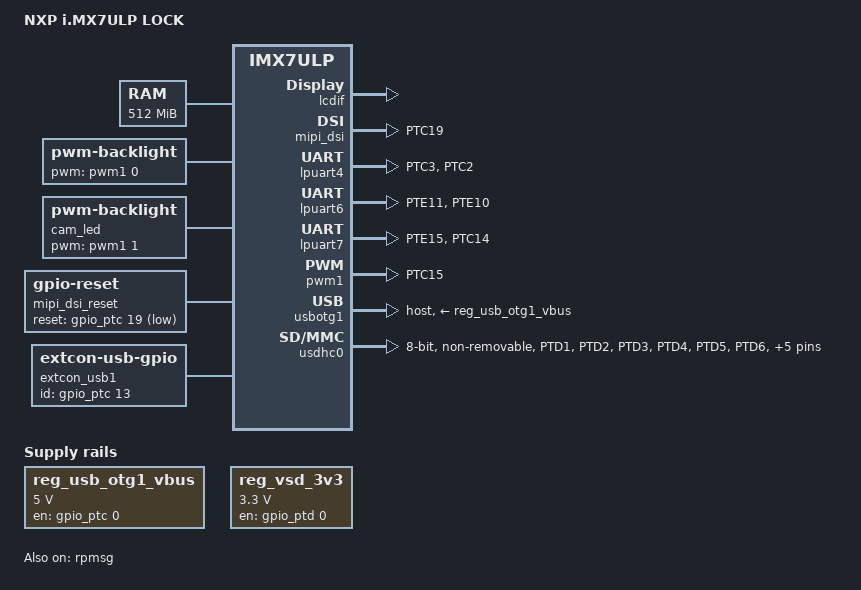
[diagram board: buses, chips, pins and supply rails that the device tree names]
/*
 * Copyright 2016 Freescale Semiconductor, Inc.
 * Copyright 2017 NXP.
 *
 * This program is free software; you can redistribute it and/or modify
 * it under the terms of the GNU General Public License version 2 as
 * published by the Free Software Foundation.
 */

/dts-v1/;

#include "imx7ulp.dtsi"
#include <dt-bindings/input/input.h>

/ {
	model = "NXP i.MX7ULP LOCK";
	compatible = "fsl,imx7ulp-lock", "fsl,imx7ulp", "Generic DT based system";


	chosen {
		stdout-path = &lpuart4;
	};

	memory {
		device_type = "memory";
		reg = <0x60000000 0x20000000>;
	};

	backlight {
		compatible = "pwm-backlight";
		pwms = <&pwm1 0 5000000>;
		brightness-levels = <0 20 25 30 35 40 100>;
		default-brightness-level = <6>;
		status = "okay";
	};

	cam_led {
		compatible = "pwm-backlight";
		pwms = <&pwm1 1 1000000>;
		brightness-levels = <0 10 30 50 70 99>;
		default-brightness-level = <0>;
		status = "okay";
	};

	mipi_dsi_reset: mipi-dsi-reset {
		compatible = "gpio-reset";
		reset-gpios = <&gpio_ptc 19 GPIO_ACTIVE_LOW>;
		reset-delay-us = <1000>;
		#reset-cells = <0>;
		status = "ok";
	};

	regulators {
		compatible = "simple-bus";
		#address-cells = <1>;
		#size-cells = <0>;

		reg_usb_otg1_vbus: regulator@0 {
			compatible = "regulator-fixed";
			reg = <0>;
			pinctrl-names = "default", "sleep";
			pinctrl-0 = <&pinctrl_usb_otg1>;
			pinctrl-1 = <&pinctrl_usb_otg1>;
			regulator-name = "usb_otg1_vbus";
			regulator-min-microvolt = <5000000>;
			regulator-max-microvolt = <5000000>;
			gpio = <&gpio_ptc 0 GPIO_ACTIVE_HIGH>;
			enable-active-high;
		};

		reg_vsd_3v3: regulator@1 {
			compatible = "regulator-fixed";
			reg = <1>;
			regulator-name = "VSD_3V3";
			regulator-min-microvolt = <3300000>;
			regulator-max-microvolt = <3300000>;
			gpio = <&gpio_ptd 0 GPIO_ACTIVE_HIGH>;
			enable-active-high;
		};

	};

	extcon_usb1: extcon_usb1 {
		compatible = "linux,extcon-usb-gpio";
		id-gpio = <&gpio_ptc 13 GPIO_ACTIVE_HIGH>;
		pinctrl-names = "default", "sleep";
		pinctrl-0 = <&pinctrl_extcon_usb1>;
		pinctrl-1 = <&pinctrl_extcon_usb1>;
	};

	pf1550-rpmsg {
		compatible = "fsl,pf1550-rpmsg";
		sw1_reg: SW1 {
				regulator-name = "SW1";
				regulator-min-microvolt = <600000>;
				regulator-max-microvolt = <1387500>;
				regulator-boot-on;
				regulator-always-on;
		};

		sw2_reg: SW2 {
				regulator-name = "SW2";
				regulator-min-microvolt = <600000>;
				regulator-max-microvolt = <1387500>;
				regulator-boot-on;
				regulator-always-on;
		};

		sw3_reg: SW3 {
				regulator-name = "SW3";
				regulator-min-microvolt = <1800000>;
				regulator-max-microvolt = <3300000>;
				regulator-boot-on;
				regulator-always-on;
		};

		vref_reg: VREFDDR {
				regulator-name = "VREFDDR";
				regulator-min-microvolt = <1200000>;
				regulator-max-microvolt = <1200000>;
				regulator-boot-on;
				regulator-always-on;
		};

		vldo1_reg: LDO1 {
				regulator-name = "LDO1";
				regulator-min-microvolt = <750000>;
				regulator-max-microvolt = <3300000>;
				regulator-always-on;
		};

		vldo2_reg: LDO2 {
				regulator-name = "LDO2";
				regulator-min-microvolt = <1800000>;
				regulator-max-microvolt = <3300000>;
				regulator-always-on;
		};

		vldo3_reg: LDO3 {
				regulator-name = "LDO3";
				regulator-min-microvolt = <750000>;
				regulator-max-microvolt = <3300000>;
				regulator-always-on;
		};
	};

	rpmsg_keys: rpmsg-keys {
		compatible = "fsl,rpmsg-keys";

		power-on {
			label = "PowerOn";
			linux,code = <KEY_POWER>;
			rpmsg-key,wakeup;
		};
	};

	/* for normal zImage and fastboot dtb file */
	rpmsg_i2s: rpmsg-i2s {
		compatible = "fsl,imx7ulp-rpmsg-i2s";
		// the audio device index in m4 domain
		fsl,audioindex = <0> ;
		status = "okay";
	};
};

&cpu0 {
	arm-supply= <&sw1_reg>;
};

&iomuxc1 {
	pinctrl-names = "default";
	pinctrl-0 = <&pinctrl_hog_1>;

	imx7ulp-lock {
		pinctrl_hog_1: hoggrp-1 {
			fsl,pins = <
				IMX7ULP_PAD_PTC1__PTC1	0x20000
				IMX7ULP_PAD_PTE14__PTE14  0x20000
				IMX7ULP_PAD_PTA25__PTA25  0x20000
			>;
		};

		pinctrl_pwm_backlight: pwm_backlight_grp {
			fsl,pins = <
				//IMX7ULP_PAD_PTC14__TPM7_CH0	0x3
			>;
		};

		pinctrl_pwm_led: pwm_led_grp {
			fsl,pins = <
				IMX7ULP_PAD_PTC15__TPM7_CH1	0x3
			>;
		};

		pinctrl_lpi2c4: lpi2c4grp {
			fsl,pins = <
				IMX7ULP_PAD_PTE0__LPI2C4_SCL		0x27
				IMX7ULP_PAD_PTE1__LPI2C4_SDA		0x27
			>;
		};

		pinctrl_lpi2c5: lpi2c5grp {
			fsl,pins = <
				IMX7ULP_PAD_PTC4__LPI2C5_SCL		0x27
				IMX7ULP_PAD_PTC5__LPI2C5_SDA		0x27
				IMX7ULP_PAD_PTC6__LPI2C5_HREQ		0x27
			>;
		};

		pinctrl_lpi2c6: lpi2c6grp {
			fsl,pins = <
				IMX7ULP_PAD_PTC8__LPI2C6_SCL        0x27
				IMX7ULP_PAD_PTC9__LPI2C6_SDA        0x27
			>;
		};

		pinctrl_lpi2c6_sleep: lpi2c6_sleep_grp {
			fsl,pins = <
				IMX7ULP_PAD_PTC8__PTC8                0x20027
				IMX7ULP_PAD_PTC9__PTC9                0x20027
			>;
		};

		pinctrl_lpi2c7: lpi2c7grp {
			fsl,pins = <
				IMX7ULP_PAD_PTE12__LPI2C7_SCL		0x27
				IMX7ULP_PAD_PTE13__LPI2C7_SDA		0x27
			>;
		};

		pinctrl_lpi2c7_sleep: lpi2c7_sleep_grp {
			fsl,pins = <
				IMX7ULP_PAD_PTE12__PTE12                0x20027
				IMX7ULP_PAD_PTE13__PTE13                0x20027
			>;
		};

		pinctrl_mipi_dsi_reset: mipi_dsi_reset_grp {
			fsl,pins = <
				IMX7ULP_PAD_PTC19__PTC19	0x20003
			>;
		};

		pinctrl_lpuart4: lpuart4grp {
			fsl,pins = <
				IMX7ULP_PAD_PTC3__LPUART4_RX	0x3
				IMX7ULP_PAD_PTC2__LPUART4_TX	0x3
			>;
		};

		pinctrl_lpuart6: lpuart6grp {
			fsl,pins = <
				IMX7ULP_PAD_PTE11__LPUART6_RX	0x3
				IMX7ULP_PAD_PTE10__LPUART6_TX	0x3
			>;
		};

		pinctrl_lpuart7: lpuart7grp {
			fsl,pins = <
				IMX7ULP_PAD_PTE15__LPUART7_RX	0x3
				IMX7ULP_PAD_PTC14__LPUART7_TX	0x3
			>;
		};

		pinctrl_usdhc0_8bit: usdhc0grp_8bit {
			fsl,pins = <
				IMX7ULP_PAD_PTD1__SDHC0_CMD	0x43
				IMX7ULP_PAD_PTD2__SDHC0_CLK	0x10042
				IMX7ULP_PAD_PTD3__SDHC0_D7	0x43
				IMX7ULP_PAD_PTD4__SDHC0_D6	0x43
				IMX7ULP_PAD_PTD5__SDHC0_D5	0x43
				IMX7ULP_PAD_PTD6__SDHC0_D4	0x43
				IMX7ULP_PAD_PTD7__SDHC0_D3	0x43
				IMX7ULP_PAD_PTD8__SDHC0_D2	0x43
				IMX7ULP_PAD_PTD9__SDHC0_D1	0x43
				IMX7ULP_PAD_PTD10__SDHC0_D0	0x43
				IMX7ULP_PAD_PTD11__SDHC0_DQS	0x42
			>;
		};

		pinctrl_usb_otg1: usbotg1grp {
			fsl,pins = <
				IMX7ULP_PAD_PTC0__PTC0          0x20000
			>;
		};

		pinctrl_extcon_usb1: extcon1grp {
			fsl,pins = <
				IMX7ULP_PAD_PTC13__PTC13        0x10003
			>;
		};

		pinctrl_camera_ov7956: camera_grp_ov7956 {
			fsl,pins = <
				IMX7ULP_PAD_PTF5__PTF5		0x20043  /*CAMERA ENABLE */
				IMX7ULP_PAD_PTF4__PTF4		0x20043  /*CAMERA RESET */
				IMX7ULP_PAD_PTF3__VIU_PCLK	0x10043  /*CAMEAR PCLK  */
				IMX7ULP_PAD_PTF6__VIU_D2    0x43
				IMX7ULP_PAD_PTF7__VIU_D3    0x43
				IMX7ULP_PAD_PTF8__VIU_D4    0x43
				IMX7ULP_PAD_PTF9__VIU_D5    0x43
				IMX7ULP_PAD_PTF10__VIU_D6   0x43
				IMX7ULP_PAD_PTF11__VIU_D7   0x43
				IMX7ULP_PAD_PTF12__VIU_D8   0x43
				IMX7ULP_PAD_PTF13__VIU_D9   0x43
			>;
		};

		pinctrl_camera_ov7725: camera_grp_ov7725 {
			fsl,pins = <
				IMX7ULP_PAD_PTF5__PTF5      0x20043  //CAMERA ENABLE
				IMX7ULP_PAD_PTF4__PTF4      0x20043  //CAMERA RESET 
				IMX7ULP_PAD_PTF3__VIU_PCLK  0x10043  //CAMEAR PCLK  
				IMX7ULP_PAD_PTF1__VIU_HSYNC 0x10043  //CAMEAR HSYNC
				IMX7ULP_PAD_PTF2__VIU_VSYNC 0x10043  //CAMEAR VSYNC 
				IMX7ULP_PAD_PTF7__VIU_D3    0x43    
				IMX7ULP_PAD_PTF8__VIU_D4    0x43
				IMX7ULP_PAD_PTF9__VIU_D5    0x43
				IMX7ULP_PAD_PTF10__VIU_D6   0x43
				IMX7ULP_PAD_PTF11__VIU_D7   0x43
				IMX7ULP_PAD_PTF14__VIU_D10  0x43
				IMX7ULP_PAD_PTF15__VIU_D11  0x43
				IMX7ULP_PAD_PTF16__VIU_D12  0x43
			>;
		};
		
		pinctrl_camera_gc0328: camera_grp_gc0328 {
			fsl,pins = <
				IMX7ULP_PAD_PTF5__PTF5      0x20043  /*CAMERA ENABLE*/
				IMX7ULP_PAD_PTF4__PTF4      0x20043  /*CAMERA RESET */
				IMX7ULP_PAD_PTF3__VIU_PCLK  0x10043  /*CAMEAR PCLK  */
				IMX7ULP_PAD_PTF1__VIU_HSYNC 0x10043  /*CAMEAR HSYNC  */
				IMX7ULP_PAD_PTF2__VIU_VSYNC 0x10043  /*CAMEAR VSYNC  */
				IMX7ULP_PAD_PTF7__VIU_D3    0x43
				IMX7ULP_PAD_PTF8__VIU_D4    0x43
				IMX7ULP_PAD_PTF9__VIU_D5    0x43
				IMX7ULP_PAD_PTF10__VIU_D6   0x43
				IMX7ULP_PAD_PTF11__VIU_D7   0x43
				IMX7ULP_PAD_PTF14__VIU_D10  0x43
				IMX7ULP_PAD_PTF15__VIU_D11  0x43
				IMX7ULP_PAD_PTF16__VIU_D12  0x43
			>;
		};

		pinctrl_camera_mx6k: camera_grp_mx6k {
			fsl,pins = <
				IMX7ULP_PAD_PTF5__PTF5      0x20043  /*CAMERA ENABLE*/
				IMX7ULP_PAD_PTF4__PTF4      0x20043  /*CAMERA RESET */
				IMX7ULP_PAD_PTF3__VIU_PCLK  0x10043  /*CAMEAR PCLK  */
				IMX7ULP_PAD_PTF1__VIU_HSYNC 0x10043  /*CAMEAR HSYNC  */
				IMX7ULP_PAD_PTF2__VIU_VSYNC 0x10043  /*CAMEAR VSYNC  */
				IMX7ULP_PAD_PTF7__VIU_D3    0x43
				IMX7ULP_PAD_PTF8__VIU_D4    0x43
				IMX7ULP_PAD_PTF9__VIU_D5    0x43
				IMX7ULP_PAD_PTF10__VIU_D6   0x43
				IMX7ULP_PAD_PTF11__VIU_D7   0x43
				IMX7ULP_PAD_PTF14__VIU_D10  0x43
				IMX7ULP_PAD_PTF15__VIU_D11  0x43
				IMX7ULP_PAD_PTF16__VIU_D12  0x43
				IMX7ULP_PAD_PTF17__VIU_D13  0x43
				IMX7ULP_PAD_PTF18__VIU_D14  0x43
				IMX7ULP_PAD_PTF19__VIU_D15  0x43
				IMX7ULP_PAD_PTE11__VIU_D19  0x43
			>;
		};

		pinctrl_camera_qh430mr: camera_grp_qh430mr {
			fsl,pins = <
				IMX7ULP_PAD_PTF5__PTF5      0x20043  /*CAMERA ENABLE*/
				IMX7ULP_PAD_PTF4__PTF4      0x20043  /*CAMERA RESET */
				IMX7ULP_PAD_PTF3__VIU_PCLK  0x10043  /*CAMEAR PCLK  */
				IMX7ULP_PAD_PTF1__VIU_HSYNC 0x10043  /*CAMEAR HSYNC  */
				IMX7ULP_PAD_PTF2__VIU_VSYNC 0x10043  /*CAMEAR VSYNC  */
				IMX7ULP_PAD_PTF7__VIU_D3    0x43
				IMX7ULP_PAD_PTF8__VIU_D4    0x43
				IMX7ULP_PAD_PTF9__VIU_D5    0x43
				IMX7ULP_PAD_PTF10__VIU_D6   0x43
				IMX7ULP_PAD_PTF11__VIU_D7   0x43
				IMX7ULP_PAD_PTF14__VIU_D10  0x43
				IMX7ULP_PAD_PTF15__VIU_D11  0x43
				IMX7ULP_PAD_PTF16__VIU_D12  0x43
				IMX7ULP_PAD_PTF17__VIU_D13  0x43
				IMX7ULP_PAD_PTF18__VIU_D14  0x43
				IMX7ULP_PAD_PTF19__VIU_D15  0x43
				IMX7ULP_PAD_PTE11__VIU_D19  0x43
			>;
		};
	};
};

&lcdif {
	status = "okay";
	disp-dev = "mipi_dsi_northwest";
	display = <&display0>;

	display0: display@0 {
		bits-per-pixel = <16>;
		bus-width = <24>;

		display-timings {
			native-mode = <&timing0>;
			timing0: timing0 {
			clock-frequency = <9200000>;
			hactive = <480>;
			vactive = <272>;
			hfront-porch = <8>;
			hback-porch = <4>;
			hsync-len = <41>;
			vback-porch = <2>;
			vfront-porch = <4>;
			vsync-len = <10>;

			hsync-active = <0>;
			vsync-active = <0>;
			de-active = <1>;
			pixelclk-active = <0>;
			};
		};
	};
};

&mipi_dsi {
	pinctrl-names = "default", "sleep";
	pinctrl-0 = <&pinctrl_mipi_dsi_reset>;
	pinctrl-1 = <&pinctrl_mipi_dsi_reset>;
	lcd_panel = "TRULY-WVGA-ST7701S";
	resets = <&mipi_dsi_reset>;
	status = "okay";
};

&lpuart4 { /* console */
	pinctrl-names = "default", "sleep";
	pinctrl-0 = <&pinctrl_lpuart4>;
	pinctrl-1 = <&pinctrl_lpuart4>;
	status = "okay";
};

&lpuart6 { /* for MCU */
	pinctrl-names = "default", "sleep";
	pinctrl-0 = <&pinctrl_lpuart6>;
	pinctrl-1 = <&pinctrl_lpuart6>;
	status = "okay";
};

&lpuart7 { /* for WIFI model */
	pinctrl-names = "default", "sleep";
	pinctrl-0 = <&pinctrl_lpuart7>;
	pinctrl-1 = <&pinctrl_lpuart7>;
	status = "okay";
};

&pwm1 {
	pinctrl-names = "default", "sleep";
	pinctrl-0 = <&pinctrl_pwm_backlight &pinctrl_pwm_led>;
	pinctrl-1 = <&pinctrl_pwm_backlight &pinctrl_pwm_led>;
	status = "okay";
};

&rpmsg {
	/*
	 * 64K for one rpmsg instance, default using 2 rpmsg instances:
	 * --0x7FF00000~0x7FF0FFFF: pmic,pm,audio,keys,gpio,sensor
	 * --0x7FF10000~0x7FF1FFFF: pingpong,virtual tty
	 */
	vdev-nums = <1>;/* hannah modified from <1> to <2> */
	reg = <0x7FF00000 0x20000>;/* merge emcp patch 190708*/
	status = "okay";
};

&rpmsg_reserved {
	no-map;
	reg = <0x7FF00000 0x100000>;
};

&usbotg1 {
	vbus-supply = <&reg_usb_otg1_vbus>;
	extcon = <0>, <&extcon_usb1>;
	dr_mode = "host";
	srp-disable;
	hnp-disable;
	adp-disable;
	status = "okay";
};

&usbphy1 {
	tx-d-cal = <0xc>;
};

&usdhc0 {
	pinctrl-names = "default", "state_100mhz", "state_200mhz", "sleep";
	pinctrl-0 = <&pinctrl_usdhc0_8bit>;
	pinctrl-1 = <&pinctrl_usdhc0_8bit>;
	pinctrl-2 = <&pinctrl_usdhc0_8bit>;
	pinctrl-3 = <&pinctrl_usdhc0_8bit>;
	non-removable;
	bus-width = <8>;
	status = "okay";
};
